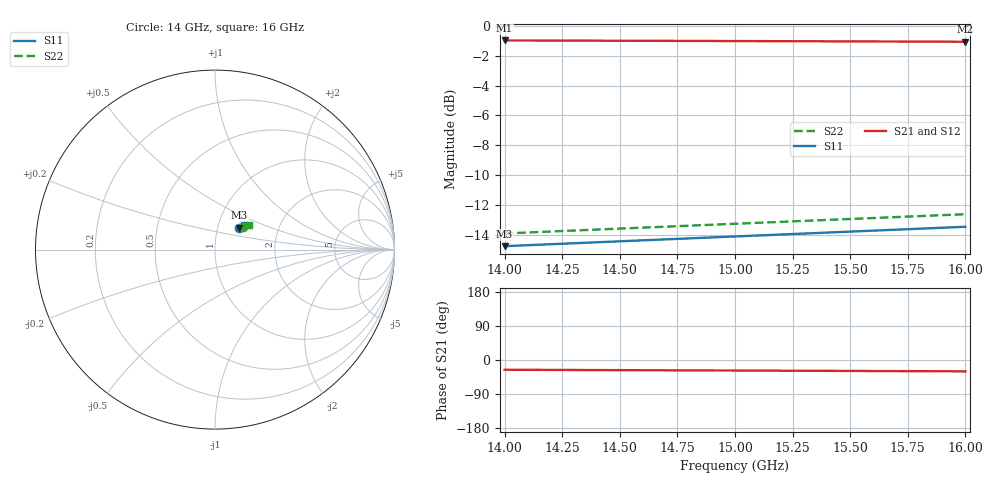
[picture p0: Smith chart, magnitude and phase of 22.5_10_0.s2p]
! Created Fri Dec 11 14:12:36 2020
# hz S ma R 50
! 2 Port Network Data from Sweep1.SP1.SP block
! freq  magS11  angS11  magS21  angS21  magS12  angS12  magS22  angS22
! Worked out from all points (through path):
!   21 points, 14 GHz to 16 GHz, reference 50 ohm
!   highest |S21| = -0.97 dB at 14 GHz (marker M1); lowest = -1.1 dB at 16 GHz (marker M2)
!   group delay of S21, straight-line fit = 5.81 ps
!   lowest |S11| = -14.8 dB at 14 GHz (marker M3), VSWR 1.45, Z = 63.5 + j16 ohm
!   |S11| at or under -10 dB: start of sweep to end of sweep
!   |S22| runs from -13.9 to -12.6 dB; largest |S21 - S12| = 0
1.4e10  0.1824 41.7  0.8942 -25.8  0.8942 -25.8  0.2012 38.1
1.41e10  0.1838 41.7  0.8938 -26.0  0.8938 -26.0  0.2028 38.1
1.42e10  0.1852 41.7  0.8934 -26.2  0.8934 -26.2  0.2043 38.0
1.43e10  0.1866 41.7  0.893 -26.4  0.893 -26.4  0.2058 37.9
1.44e10  0.188 41.7  0.8926 -26.6  0.8926 -26.6  0.2074 37.8
1.45e10  0.1894 41.7  0.8922 -26.8  0.8922 -26.8  0.209 37.8
1.46e10  0.1908 41.7  0.8918 -27.0  0.8918 -27.0  0.2105 37.7
1.47e10  0.1923 41.7  0.8914 -27.2  0.8914 -27.2  0.2121 37.6
1.48e10  0.1937 41.6  0.8909 -27.4  0.8909 -27.4  0.2137 37.5
1.49e10  0.1952 41.6  0.8905 -27.6  0.8905 -27.6  0.2153 37.4
1.5e10  0.1966 41.6  0.8901 -27.8  0.8901 -27.8  0.2169 37.3
1.51e10  0.1981 41.6  0.8896 -28.0  0.8896 -28.0  0.2185 37.2
1.52e10  0.1996 41.5  0.8892 -28.2  0.8892 -28.2  0.2201 37.2
1.53e10  0.2011 41.5  0.8887 -28.5  0.8887 -28.5  0.2218 37.1
1.54e10  0.2026 41.5  0.8883 -28.7  0.8883 -28.7  0.2234 37.0
1.55e10  0.2041 41.4  0.8878 -28.9  0.8878 -28.9  0.2251 36.9
1.56e10  0.2057 41.4  0.8873 -29.1  0.8873 -29.1  0.2268 36.8
1.57e10  0.2072 41.3  0.8869 -29.3  0.8869 -29.3  0.2284 36.7
1.58e10  0.2088 41.3  0.8864 -29.5  0.8864 -29.5  0.2301 36.6
1.59e10  0.2103 41.2  0.8859 -29.7  0.8859 -29.7  0.2318 36.5
1.6e10  0.2119 41.2  0.8854 -29.9  0.8854 -29.9  0.2335 36.3
